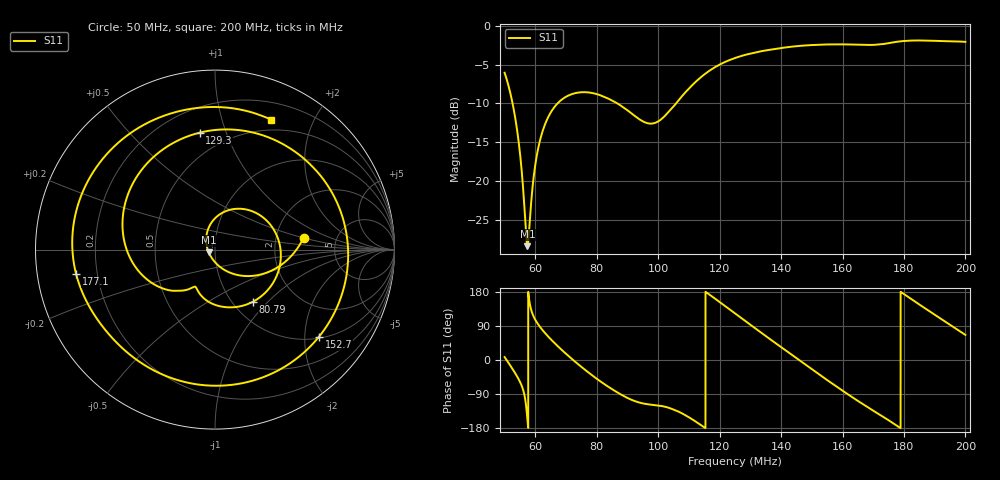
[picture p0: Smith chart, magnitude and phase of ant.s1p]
! COPPER MOUNTAIN TECHNOLOGIES, PLANAR TR1300/1, 00071119, 20.2.2/1.0
! Date: 12/11/2023 3:27:39 PM
! Data: Format [Calibration Info]
! Freq  S11: Re/Im F1
# HZ S RI R 50
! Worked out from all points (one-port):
!   12288 points, 50 MHz to 200 MHz, reference 50 ohm
!   lowest |S11| = -28.4 dB at 57.43 MHz (marker M1), VSWR 1.08, Z = 46.6 - j1.33 ohm
!   |S11| at or under -10 dB: 52.59 MHz to 67.23 MHz (14.64 MHz wide, 24.4 % of centre); 86.68 MHz to 105.8 MHz (19.17 MHz wide, 19.9 % of centre)
!   S11 on the Smith chart (normalised r, x): 50 MHz: 2.88, +0.51; 80.79 MHz: 1.23, -0.82; 129.3 MHz: 0.35, +0.81; 152.7 MHz: 1.04, -2.35; 177.1 MHz: 0.12, -0.09; 200 MHz: 0.38, +1.46
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5e7  0.4937 0.067
5.405306e7  0.1559 -0.1462
5.743469e7  -0.0352 -0.0143
5.976642e7  -0.0393 0.1118
6.159762e7  0.0113 0.1849
6.875153e7  0.3037 0.1444
7.423293e7  0.3623 -0.0843
8.078864e7  0.2103 -0.2909
8.750305e7  0.0036 -0.309
9.781883e7  -0.1102 -0.2067
1.062546e8  -0.2282 -0.2297
1.116505e8  -0.3983 -0.1489
1.171808e8  -0.513 0.0932
1.250061e8  -0.3381 0.52
1.292789e8  -0.085 0.6517
1.360055e8  0.3767 0.5888
1.437576e8  0.7189 0.1514
1.481403e8  0.7264 -0.1767
1.527183e8  0.5791 -0.4858
1.577236e8  0.2812 -0.7059
1.625092e8  -0.061 -0.7555
1.692114e8  -0.4823 -0.5786
1.770733e8  -0.7736 -0.1366
1.812607e8  -0.7811 0.18
1.857044e8  -0.6396 0.4879
1.909783e8  -0.3286 0.7283
1.954708e8  -0.00664 0.7946
2e8  0.3176 0.7217
